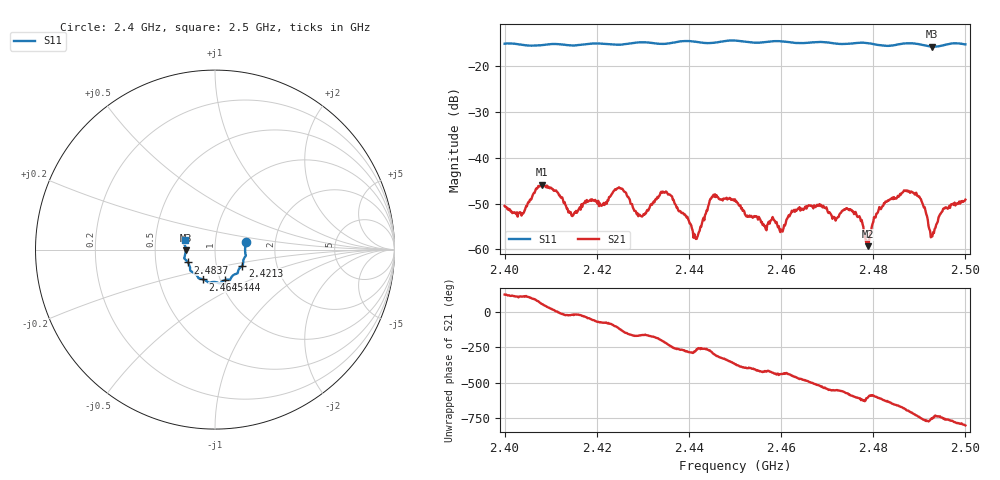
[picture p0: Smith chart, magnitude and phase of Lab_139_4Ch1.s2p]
# Hz S RI R 50
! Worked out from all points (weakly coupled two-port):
!   601 points, 2.4 GHz to 2.5 GHz, reference 50 ohm
!   highest |S21| = -45.87 dB at 2.4082 GHz (marker M1); lowest = -59.3 dB at 2.4788 GHz (marker M2)
!   lowest |S11| = -15.7 dB at 2.4928 GHz (marker M3), VSWR 1.39, Z = 36 - j0.365 ohm
!   |S11| at or under -10 dB: start of sweep to end of sweep
!   S12 and S22 are empty: the file has one direction only
!   S11 on the Smith chart (normalised r, x): 2.4 GHz: 1.41, +0.12; 2.4213 GHz: 1.33, -0.25; 2.444 GHz: 1.06, -0.37; 2.4645 GHz: 0.83, -0.29; 2.4837 GHz: 0.73, -0.11; 2.5 GHz: 0.71, +0.07
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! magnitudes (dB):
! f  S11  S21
! 2.4 GHz  -15.1  -50.5
! 2.4038 GHz  -15.3  -52.1
! 2.4082 GHz  -15.4  -45.9
! 2.4167 GHz  -15.3  -50.1
! 2.4213 GHz  -15.1  -50.3
! 2.4252 GHz  -15.3  -46.6
! 2.4295 GHz  -14.8  -52.7
! 2.4333 GHz  -15.1  -48.7
! 2.4362 GHz  -14.9  -48.3
! 2.4415 GHz  -14.7  -57.7
! 2.444 GHz  -15.0  -51.5
! 2.45 GHz  -14.4  -49.1
! 2.46 GHz  -14.6  -55.6
! 2.4645 GHz  -15.0  -51.1
! 2.4667 GHz  -14.8  -50.6
! 2.4752 GHz  -15.1  -51.4
! 2.4788 GHz  -15.0  -59.3
! 2.4833 GHz  -15.6  -49.4
! 2.4837 GHz  -15.5  -49.1
! 2.4897 GHz  -15.1  -48.3
! 2.4928 GHz  -15.7  -57.1
! 2.5 GHz  -15.2  -49.1
